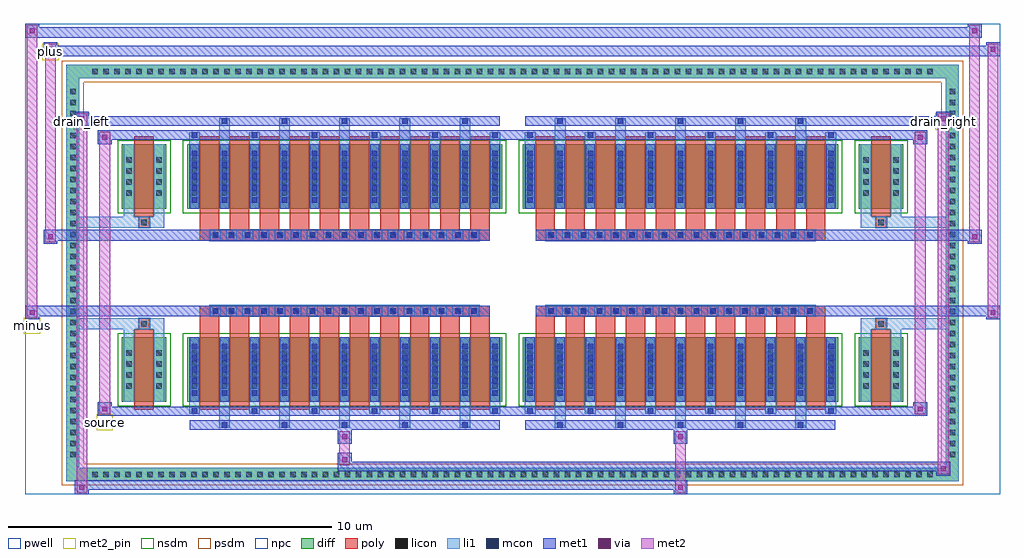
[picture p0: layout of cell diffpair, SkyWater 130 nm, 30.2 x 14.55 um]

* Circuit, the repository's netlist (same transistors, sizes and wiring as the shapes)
* NGSPICE file created from diffpair.ext - technology: sky130A

.subckt diffpair minus drain_right drain_left source plus
X0 drain_left plus source a_n2762_n1288# sky130_fd_pr__nfet_01v8 ad=0.33 pd=2.33 as=0.78 ps=4.78 w=2 l=0.6
X1 drain_right minus source a_n2762_n1288# sky130_fd_pr__nfet_01v8 ad=0.33 pd=2.33 as=0.78 ps=4.78 w=2 l=0.6
X2 drain_left plus source a_n2762_n1288# sky130_fd_pr__nfet_01v8 ad=0.33 pd=2.33 as=0.33 ps=2.33 w=2 l=0.6
X3 source plus drain_left a_n2762_n1288# sky130_fd_pr__nfet_01v8 ad=0.33 pd=2.33 as=0.33 ps=2.33 w=2 l=0.6
X4 drain_left plus source a_n2762_n1288# sky130_fd_pr__nfet_01v8 ad=0.33 pd=2.33 as=0.33 ps=2.33 w=2 l=0.6
X5 source minus drain_right a_n2762_n1288# sky130_fd_pr__nfet_01v8 ad=0.78 pd=4.78 as=0.33 ps=2.33 w=2 l=0.6
X6 source plus drain_left a_n2762_n1288# sky130_fd_pr__nfet_01v8 ad=0.33 pd=2.33 as=0.33 ps=2.33 w=2 l=0.6
X7 drain_right minus source a_n2762_n1288# sky130_fd_pr__nfet_01v8 ad=0.33 pd=2.33 as=0.33 ps=2.33 w=2 l=0.6
X8 source minus drain_right a_n2762_n1288# sky130_fd_pr__nfet_01v8 ad=0.33 pd=2.33 as=0.33 ps=2.33 w=2 l=0.6
X9 drain_left plus source a_n2762_n1288# sky130_fd_pr__nfet_01v8 ad=0.33 pd=2.33 as=0.33 ps=2.33 w=2 l=0.6
X10 source minus drain_right a_n2762_n1288# sky130_fd_pr__nfet_01v8 ad=0.33 pd=2.33 as=0.33 ps=2.33 w=2 l=0.6
X11 source plus drain_left a_n2762_n1288# sky130_fd_pr__nfet_01v8 ad=0.33 pd=2.33 as=0.33 ps=2.33 w=2 l=0.6
X12 source minus drain_right a_n2762_n1288# sky130_fd_pr__nfet_01v8 ad=0.33 pd=2.33 as=0.33 ps=2.33 w=2 l=0.6
X13 drain_right minus source a_n2762_n1288# sky130_fd_pr__nfet_01v8 ad=0.33 pd=2.33 as=0.33 ps=2.33 w=2 l=0.6
X14 drain_right minus source a_n2762_n1288# sky130_fd_pr__nfet_01v8 ad=0.33 pd=2.33 as=0.33 ps=2.33 w=2 l=0.6
X15 drain_right minus source a_n2762_n1288# sky130_fd_pr__nfet_01v8 ad=0.33 pd=2.33 as=0.33 ps=2.33 w=2 l=0.6
X16 drain_right minus source a_n2762_n1288# sky130_fd_pr__nfet_01v8 ad=0.33 pd=2.33 as=0.33 ps=2.33 w=2 l=0.6
X17 source minus drain_right a_n2762_n1288# sky130_fd_pr__nfet_01v8 ad=0.78 pd=4.78 as=0.33 ps=2.33 w=2 l=0.6
X18 source plus drain_left a_n2762_n1288# sky130_fd_pr__nfet_01v8 ad=0.33 pd=2.33 as=0.33 ps=2.33 w=2 l=0.6
X19 a_n2762_n1288# a_n2762_n1288# a_n2762_n1288# a_n2762_n1288# sky130_fd_pr__nfet_01v8 ad=0.78 pd=4.78 as=6.24 ps=38.24 w=2 l=0.6
X20 source minus drain_right a_n2762_n1288# sky130_fd_pr__nfet_01v8 ad=0.33 pd=2.33 as=0.33 ps=2.33 w=2 l=0.6
X21 a_n2762_n1288# a_n2762_n1288# a_n2762_n1288# a_n2762_n1288# sky130_fd_pr__nfet_01v8 ad=0.78 pd=4.78 as=0 ps=0 w=2 l=0.6
X22 a_n2762_n1288# a_n2762_n1288# a_n2762_n1288# a_n2762_n1288# sky130_fd_pr__nfet_01v8 ad=0.78 pd=4.78 as=0 ps=0 w=2 l=0.6
X23 drain_left plus source a_n2762_n1288# sky130_fd_pr__nfet_01v8 ad=0.33 pd=2.33 as=0.33 ps=2.33 w=2 l=0.6
X24 a_n2762_n1288# a_n2762_n1288# a_n2762_n1288# a_n2762_n1288# sky130_fd_pr__nfet_01v8 ad=0.78 pd=4.78 as=0 ps=0 w=2 l=0.6
X25 drain_left plus source a_n2762_n1288# sky130_fd_pr__nfet_01v8 ad=0.33 pd=2.33 as=0.33 ps=2.33 w=2 l=0.6
X26 source plus drain_left a_n2762_n1288# sky130_fd_pr__nfet_01v8 ad=0.33 pd=2.33 as=0.33 ps=2.33 w=2 l=0.6
X27 source plus drain_left a_n2762_n1288# sky130_fd_pr__nfet_01v8 ad=0.33 pd=2.33 as=0.33 ps=2.33 w=2 l=0.6
X28 source minus drain_right a_n2762_n1288# sky130_fd_pr__nfet_01v8 ad=0.33 pd=2.33 as=0.33 ps=2.33 w=2 l=0.6
X29 drain_right minus source a_n2762_n1288# sky130_fd_pr__nfet_01v8 ad=0.33 pd=2.33 as=0.33 ps=2.33 w=2 l=0.6
X30 drain_left plus source a_n2762_n1288# sky130_fd_pr__nfet_01v8 ad=0.33 pd=2.33 as=0.33 ps=2.33 w=2 l=0.6
X31 source minus drain_right a_n2762_n1288# sky130_fd_pr__nfet_01v8 ad=0.33 pd=2.33 as=0.33 ps=2.33 w=2 l=0.6
X32 source plus drain_left a_n2762_n1288# sky130_fd_pr__nfet_01v8 ad=0.33 pd=2.33 as=0.33 ps=2.33 w=2 l=0.6
X33 drain_right minus source a_n2762_n1288# sky130_fd_pr__nfet_01v8 ad=0.33 pd=2.33 as=0.78 ps=4.78 w=2 l=0.6
X34 drain_right minus source a_n2762_n1288# sky130_fd_pr__nfet_01v8 ad=0.33 pd=2.33 as=0.33 ps=2.33 w=2 l=0.6
X35 source minus drain_right a_n2762_n1288# sky130_fd_pr__nfet_01v8 ad=0.33 pd=2.33 as=0.33 ps=2.33 w=2 l=0.6
X36 source plus drain_left a_n2762_n1288# sky130_fd_pr__nfet_01v8 ad=0.78 pd=4.78 as=0.33 ps=2.33 w=2 l=0.6
X37 drain_left plus source a_n2762_n1288# sky130_fd_pr__nfet_01v8 ad=0.33 pd=2.33 as=0.33 ps=2.33 w=2 l=0.6
X38 source plus drain_left a_n2762_n1288# sky130_fd_pr__nfet_01v8 ad=0.78 pd=4.78 as=0.33 ps=2.33 w=2 l=0.6
X39 source minus drain_right a_n2762_n1288# sky130_fd_pr__nfet_01v8 ad=0.33 pd=2.33 as=0.33 ps=2.33 w=2 l=0.6
X40 source plus drain_left a_n2762_n1288# sky130_fd_pr__nfet_01v8 ad=0.33 pd=2.33 as=0.33 ps=2.33 w=2 l=0.6
X41 drain_right minus source a_n2762_n1288# sky130_fd_pr__nfet_01v8 ad=0.33 pd=2.33 as=0.33 ps=2.33 w=2 l=0.6
X42 drain_left plus source a_n2762_n1288# sky130_fd_pr__nfet_01v8 ad=0.33 pd=2.33 as=0.78 ps=4.78 w=2 l=0.6
X43 drain_left plus source a_n2762_n1288# sky130_fd_pr__nfet_01v8 ad=0.33 pd=2.33 as=0.33 ps=2.33 w=2 l=0.6
.ends

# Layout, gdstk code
import gdstk
lib = gdstk.Library(unit=1e-6, precision=5e-09)
def R(c, l, rs):  # rectangles x0, y0, x1, y1
    for r in rs: c.add(gdstk.rectangle(r[:2], r[2:], *l))
def A(c, l, x, y, w, h, nx, ny, dx, dy):  # array of equal rectangles
    R(c, l, [(x+i*dx, y+j*dy, x+i*dx+w, y+j*dy+h) for i in range(nx) for j in range(ny)])
def P(c, l, *ps):  # polygons
    for p in ps: c.add(gdstk.Polygon(p, *l))
pwell = (64, 44)
diff = (65, 20)
poly = (66, 20)
licon = (66, 44)
li1 = (67, 20)
mcon = (67, 44)
met1 = (68, 20)
via = (68, 44)
met2_pin = (69, 16)
met2 = (69, 20)
nsdm = (93, 44)
psdm = (94, 20)
npc = (95, 20)

diffpair = lib.new_cell('diffpair')
R(diffpair, pwell, [(-15.08,-6.84,15.08,7.71), (-12.4,-5.03,-0.01,-0.805), (0.01,-5.03,12.4,-0.805), (-12.4,0.805,-0.01,5.03), (0.01,0.805,12.4,5.03)])
A(diffpair, diff, -13.125, -6.44, 0.41, 0.41, 77, 2, 0.34, 12.47)
A(diffpair, diff, -13.81, -5.815, 0.41, 0.41, 1, 34, 0, 0.34)
A(diffpair, diff, 13.4, -5.815, 0.41, 0.41, 1, 34, 0, 0.34)
R(diffpair, diff, [(-13.125,-6.44,13.125,-6.03), (-13.81,-5.815,-13.4,5.815), (13.4,-5.815,13.81,5.815), (-12.09,-3.985,-10.71,-1.985), (-10.07,-3.985,-0.32,-1.985), (0.32,-3.985,10.07,-1.985), (10.71,-3.985,12.09,-1.985), (-12.09,1.985,-10.71,3.985), (-10.07,1.985,-0.32,3.985), (0.32,1.985,10.07,3.985), (10.71,1.985,12.09,3.985), (-13.125,6.03,13.125,6.44)])
P(diffpair, diff, [(13.81,6.44),(-13.81,6.44),(-13.81,-6.03),(-13.4,-6.03),(-13.4,6.03),(13.4,6.03),(13.4,-6.03),(-13.4,-6.03),(-13.81,-6.03),(-13.81,-6.44),(13.81,-6.44)])
A(diffpair, poly, -9.68, -4.235, 0.6, 2.5, 10, 2, 0.93, 5.97)
A(diffpair, poly, 0.71, -4.235, 0.6, 2.5, 10, 2, 0.93, 5.97)
A(diffpair, poly, -9.68, -1.735, 0.6, 0.4, 10, 2, 0.93, 3.07)
A(diffpair, poly, 0.71, -1.735, 0.6, 0.4, 10, 2, 0.93, 3.07)
A(diffpair, poly, -9.36, -1.335, 0.33, 0.33, 17, 2, 0.5, 2.34)
A(diffpair, poly, 1.03, -1.335, 0.33, 0.33, 17, 2, 0.5, 2.34)
R(diffpair, poly, [(-11.7,-4.235,-11.1,-1.735), (11.1,-4.235,11.7,-1.735), (-11.565,-1.735,-11.235,-1.405), (-11.565,-1.735,-11.235,-1.405), (11.235,-1.735,11.565,-1.405), (11.235,-1.735,11.565,-1.405), (-9.68,-1.335,-0.71,-1.005), (0.71,-1.335,9.68,-1.005), (-9.68,1.005,-0.71,1.335), (0.71,1.005,9.68,1.335), (-11.565,1.405,-11.235,1.735), (-11.565,1.405,-11.235,1.735), (11.235,1.405,11.565,1.735), (11.235,1.405,11.565,1.735), (-11.7,1.735,-11.1,4.235), (11.1,1.735,11.7,4.235)])
A(diffpair, licon, -13.005, -6.32, 0.17, 0.17, 77, 2, 0.34, 12.47)
A(diffpair, licon, -13.69, -5.695, 0.17, 0.17, 1, 34, 0, 0.34)
A(diffpair, licon, 13.52, -5.695, 0.17, 0.17, 1, 34, 0, 0.34)
A(diffpair, licon, -11.95, -3.58, 0.17, 0.17, 1, 4, 0, 0.34)
A(diffpair, licon, -11.02, -3.58, 0.17, 0.17, 1, 4, 0, 0.34)
A(diffpair, licon, -9.93, -3.58, 0.17, 0.17, 11, 4, 0.93, 0.34)
A(diffpair, licon, 0.46, -3.58, 0.17, 0.17, 11, 4, 0.93, 0.34)
A(diffpair, licon, 10.85, -3.58, 0.17, 0.17, 1, 4, 0, 0.34)
A(diffpair, licon, 11.78, -3.58, 0.17, 0.17, 1, 4, 0, 0.34)
A(diffpair, licon, -9.28, -1.255, 0.17, 0.17, 17, 2, 0.5, 2.34)
A(diffpair, licon, 1.11, -1.255, 0.17, 0.17, 17, 2, 0.5, 2.34)
A(diffpair, licon, -11.95, 2.39, 0.17, 0.17, 1, 4, 0, 0.34)
A(diffpair, licon, -11.02, 2.39, 0.17, 0.17, 1, 4, 0, 0.34)
A(diffpair, licon, -9.93, 2.39, 0.17, 0.17, 11, 4, 0.93, 0.34)
A(diffpair, licon, 0.46, 2.39, 0.17, 0.17, 11, 4, 0.93, 0.34)
A(diffpair, licon, 10.85, 2.39, 0.17, 0.17, 1, 4, 0, 0.34)
A(diffpair, licon, 11.78, 2.39, 0.17, 0.17, 1, 4, 0, 0.34)
R(diffpair, licon, [(-11.485,-1.655,-11.315,-1.485), (11.315,-1.655,11.485,-1.485), (-11.485,1.485,-11.315,1.655), (11.315,1.485,11.485,1.655)])
A(diffpair, li1, -13.085, -6.4, 0.33, 0.33, 77, 2, 0.34, 12.47)
A(diffpair, li1, -13.77, -5.775, 0.33, 0.33, 1, 34, 0, 0.34)
A(diffpair, li1, 13.44, -5.775, 0.33, 0.33, 1, 34, 0, 0.34)
A(diffpair, li1, -9.08, -4.79, 0.33, 0.805, 5, 2, 1.86, 8.775)
A(diffpair, li1, -9, -4.79, 0.17, 0.17, 5, 2, 1.86, 9.41)
A(diffpair, li1, 1.31, -4.79, 0.33, 0.805, 5, 2, 1.86, 8.775)
A(diffpair, li1, 1.39, -4.79, 0.17, 0.17, 5, 2, 1.86, 9.41)
A(diffpair, li1, -10.01, -4.36, 0.33, 0.375, 6, 2, 1.86, 8.345)
A(diffpair, li1, -9.93, -4.36, 0.17, 0.17, 6, 2, 1.86, 8.55)
A(diffpair, li1, 0.38, -4.36, 0.33, 0.375, 6, 2, 1.86, 8.345)
A(diffpair, li1, 0.46, -4.36, 0.17, 0.17, 6, 2, 1.86, 8.55)
A(diffpair, li1, -10.01, -3.985, 0.33, 2, 11, 2, 0.93, 5.97)
A(diffpair, li1, 0.38, -3.985, 0.33, 2, 11, 2, 0.93, 5.97)
A(diffpair, li1, -9.93, -3.79, 0.17, 0.17, 11, 5, 0.93, 0.36)
A(diffpair, li1, -9.93, -3.79, 0.17, 1.61, 11, 2, 0.93, 5.97)
A(diffpair, li1, 0.46, -3.79, 0.17, 0.17, 11, 5, 0.93, 0.36)
A(diffpair, li1, 0.46, -3.79, 0.17, 1.61, 11, 2, 0.93, 5.97)
A(diffpair, li1, -12.03, -3.66, 0.33, 0.33, 1, 4, 0, 0.34)
A(diffpair, li1, -11.1, -3.66, 0.33, 0.33, 1, 4, 0, 0.34)
A(diffpair, li1, -10.01, -3.66, 0.33, 0.33, 11, 4, 0.93, 0.34)
A(diffpair, li1, 0.38, -3.66, 0.33, 0.33, 11, 4, 0.93, 0.34)
A(diffpair, li1, 10.77, -3.66, 0.33, 0.33, 1, 4, 0, 0.34)
A(diffpair, li1, 11.7, -3.66, 0.33, 0.33, 1, 4, 0, 0.34)
A(diffpair, li1, -9.36, -1.335, 0.33, 0.33, 17, 2, 0.5, 2.34)
A(diffpair, li1, 1.03, -1.335, 0.33, 0.33, 17, 2, 0.5, 2.34)
A(diffpair, li1, -9.93, 2.18, 0.17, 0.17, 11, 5, 0.93, 0.36)
A(diffpair, li1, 0.46, 2.18, 0.17, 0.17, 11, 5, 0.93, 0.36)
A(diffpair, li1, -12.03, 2.31, 0.33, 0.33, 1, 4, 0, 0.34)
A(diffpair, li1, -11.1, 2.31, 0.33, 0.33, 1, 4, 0, 0.34)
A(diffpair, li1, -10.01, 2.31, 0.33, 0.33, 11, 4, 0.93, 0.34)
A(diffpair, li1, 0.38, 2.31, 0.33, 0.33, 11, 4, 0.93, 0.34)
A(diffpair, li1, 10.77, 2.31, 0.33, 0.33, 1, 4, 0, 0.34)
A(diffpair, li1, 11.7, 2.31, 0.33, 0.33, 1, 4, 0, 0.34)
R(diffpair, li1, [(-13.81,-6.44,-13.4,-6.03), (-13.81,-6.44,-13.4,-6.03), (-13.4,-6.44,13.4,-6.03), (13.4,-6.44,13.81,-6.03), (13.4,-6.44,13.81,-6.03), (-13.81,-6.03,-13.4,6.03), (13.4,-6.03,13.81,6.03), (-12.03,-3.985,-11.7,-1.985), (-11.1,-3.985,-10.77,-1.985), (10.77,-3.985,11.1,-1.985), (11.7,-3.985,12.03,-1.985), (-12.03,-1.985,-11.7,-1.405), (-11.1,-1.985,-10.77,-1.405), (10.77,-1.985,11.1,-1.405), (11.7,-1.985,12.03,-1.405), (-13.81,-1.735,-11.565,-1.405), (-12.03,-1.735,-11.565,-1.405), (-11.565,-1.735,-11.235,-1.405), (-11.235,-1.735,-10.77,-1.405), (10.77,-1.735,11.235,-1.405), (11.235,-1.735,11.565,-1.405), (11.235,-1.735,13.81,-1.405), (11.565,-1.735,12.03,-1.405), (-13.81,1.405,-11.565,1.735), (-12.03,1.405,-11.565,1.735), (-12.03,1.405,-11.7,1.985), (-11.565,1.405,-11.235,1.735), (-11.235,1.405,-10.77,1.735), (-11.1,1.405,-10.77,1.985), (10.77,1.405,11.235,1.735), (10.77,1.405,11.1,1.985), (11.235,1.405,11.565,1.735), (11.235,1.405,13.81,1.735), (11.565,1.405,12.03,1.735), (11.7,1.405,12.03,1.985), (-12.03,1.985,-11.7,3.985), (-11.1,1.985,-10.77,3.985), (10.77,1.985,11.1,3.985), (11.7,1.985,12.03,3.985), (-13.81,6.03,-13.4,6.44), (-13.81,6.03,-13.4,6.44), (-13.4,6.03,13.4,6.44), (13.4,6.03,13.81,6.44), (13.4,6.03,13.81,6.44)])
A(diffpair, mcon, -9, -4.79, 0.17, 0.17, 5, 2, 1.86, 9.41)
A(diffpair, mcon, 1.39, -4.79, 0.17, 0.17, 5, 2, 1.86, 9.41)
A(diffpair, mcon, -9.93, -4.36, 0.17, 0.17, 6, 2, 1.86, 8.55)
A(diffpair, mcon, 0.46, -4.36, 0.17, 0.17, 6, 2, 1.86, 8.55)
A(diffpair, mcon, -9.93, -3.79, 0.17, 0.17, 11, 5, 0.93, 0.36)
A(diffpair, mcon, 0.46, -3.79, 0.17, 0.17, 11, 5, 0.93, 0.36)
A(diffpair, mcon, -9.28, -1.255, 0.17, 0.17, 17, 2, 0.5, 2.34)
A(diffpair, mcon, 1.11, -1.255, 0.17, 0.17, 17, 2, 0.5, 2.34)
A(diffpair, mcon, -9.93, 2.18, 0.17, 0.17, 11, 5, 0.93, 0.36)
A(diffpair, mcon, 0.46, 2.18, 0.17, 0.17, 11, 5, 0.93, 0.36)
A(diffpair, met1, -9.06, -4.85, 0.29, 0.29, 5, 2, 1.86, 9.41)
A(diffpair, met1, 1.33, -4.85, 0.29, 0.29, 5, 2, 1.86, 9.41)
A(diffpair, met1, -9.99, -4.42, 0.29, 0.29, 6, 2, 1.86, 8.55)
A(diffpair, met1, 0.4, -4.42, 0.29, 0.29, 6, 2, 1.86, 8.55)
A(diffpair, met1, -9.99, -3.985, 0.29, 2, 11, 2, 0.93, 5.97)
A(diffpair, met1, 0.4, -3.985, 0.29, 2, 11, 2, 0.93, 5.97)
A(diffpair, met1, -9.99, -3.85, 0.29, 0.29, 11, 5, 0.93, 0.36)
A(diffpair, met1, 0.4, -3.85, 0.29, 0.29, 11, 5, 0.93, 0.36)
A(diffpair, met1, -9.34, -1.315, 0.29, 0.29, 17, 2, 0.5, 2.34)
A(diffpair, met1, 1.05, -1.315, 0.29, 0.29, 17, 2, 0.5, 2.34)
A(diffpair, met1, -9.99, 2.12, 0.29, 0.29, 11, 5, 0.93, 0.36)
A(diffpair, met1, 0.4, 2.12, 0.29, 0.29, 11, 5, 0.93, 0.36)
R(diffpair, met1, [(-13.54,-6.84,-13.11,-6.41), (4.98,-6.84,5.41,-6.41), (-13.54,-6.7,5.41,-6.41), (13.11,-6.27,13.54,-5.84), (-5.41,-6.13,13.54,-5.84), (-5.41,-5.99,-4.98,-5.56), (-5.41,-5.28,-4.98,-4.85), (4.98,-5.28,5.41,-4.85), (-9.99,-4.85,-0.4,-4.56), (0.4,-4.85,9.99,-4.56), (-12.83,-4.42,-12.4,-3.99), (-12.83,-4.42,-9.99,-4.13), (-9.99,-4.42,-0.4,-4.13), (-0.4,-4.42,0.4,-4.13), (0.4,-4.42,9.99,-4.13), (9.99,-4.42,12.83,-4.13), (12.4,-4.42,12.83,-3.99), (-15.08,-1.435,-14.65,-1.005), (14.65,-1.435,15.08,-1.005), (-15.08,-1.335,-0.71,-1.005), (-9.68,-1.335,-0.71,-1.005), (0.71,-1.335,9.68,-1.005), (0.71,-1.335,15.08,-1.005), (-14.51,0.905,-14.08,1.335), (14.08,0.905,14.51,1.335), (-14.51,1.005,-9.68,1.335), (-9.68,1.005,-0.71,1.335), (0.71,1.005,9.68,1.335), (9.68,1.005,14.51,1.335), (-12.83,3.99,-12.4,4.42), (12.4,3.99,12.83,4.42), (-12.83,4.13,-9.99,4.42), (-9.99,4.13,-0.4,4.42), (-0.4,4.13,0.4,4.42), (0.4,4.13,9.99,4.42), (9.99,4.13,12.83,4.42), (-13.54,4.56,-13.11,4.99), (-13.54,4.56,-9.99,4.85), (-9.99,4.56,-0.4,4.85), (0.4,4.56,9.99,4.85), (9.99,4.56,13.54,4.85), (13.11,4.56,13.54,4.99), (-14.51,6.71,-14.08,7.14), (-14.51,6.71,-12.4,7.04), (-12.4,6.71,12.4,7.04), (12.4,6.71,15.08,7.04), (14.65,6.71,15.08,7.14), (-15.08,7.28,-14.65,7.71), (-15.08,7.28,-12.4,7.61), (-12.4,7.28,12.4,7.61), (12.4,7.28,14.51,7.61), (14.08,7.28,14.51,7.71)])
R(diffpair, via, [(-13.4,-6.7,-13.25,-6.55), (5.12,-6.7,5.27,-6.55), (13.25,-6.13,13.4,-5.98), (-5.27,-5.85,-5.12,-5.7), (-5.27,-5.14,-5.12,-4.99), (5.12,-5.14,5.27,-4.99), (-12.69,-4.28,-12.54,-4.13), (12.54,-4.28,12.69,-4.13), (-14.94,-1.295,-14.79,-1.145), (14.79,-1.295,14.94,-1.145), (-14.37,1.045,-14.22,1.195), (14.22,1.045,14.37,1.195), (-12.69,4.13,-12.54,4.28), (12.54,4.13,12.69,4.28), (-13.4,4.7,-13.25,4.85), (13.25,4.7,13.4,4.85), (-14.37,6.85,-14.22,7), (14.79,6.85,14.94,7), (-14.94,7.42,-14.79,7.57), (14.22,7.42,14.37,7.57)])
R(diffpair, met2_pin, [(-12.865,-4.87,-12.365,-4.37), (-15.115,-1.885,-14.615,-1.385), (-13.575,4.44,-13.075,4.94), (13.075,4.44,13.575,4.94), (-14.545,6.59,-14.045,7.09)])
R(diffpair, met2, [(-13.49,-6.79,-13.16,-6.46), (-13.49,-6.79,-13.16,4.94), (5.03,-6.79,5.36,-6.46), (5.03,-6.46,5.36,-5.23), (13.16,-6.22,13.49,-5.89), (13.16,-6.22,13.49,4.94), (-5.36,-5.94,-5.03,-5.61), (-5.36,-5.61,-5.03,-5.23), (-5.36,-5.23,-5.03,-4.9), (5.03,-5.23,5.36,-4.9), (-12.78,-4.37,-12.45,-4.04), (-12.78,-4.37,-12.45,4.37), (12.45,-4.37,12.78,-4.04), (12.45,-4.37,12.78,4.37), (-15.03,-1.385,-14.7,-1.055), (-15.03,-1.385,-14.7,7.66), (14.7,-1.385,15.03,-1.055), (14.7,-1.385,15.03,7.09), (-14.46,0.955,-14.13,1.285), (-14.46,0.955,-14.13,7.09), (14.13,0.955,14.46,1.285), (14.13,0.955,14.46,7.66), (-12.78,4.04,-12.45,4.37), (12.45,4.04,12.78,4.37), (-13.49,4.61,-13.16,4.94), (13.16,4.61,13.49,4.94), (-14.46,6.76,-14.13,7.09), (14.7,6.76,15.03,7.09), (-15.03,7.33,-14.7,7.66), (14.13,7.33,14.46,7.66)])
P(diffpair, met2, [(15.03,-1.385),(15.03,-1.385),(15.03,-1.055),(15.03,-1.055)],
  [(15.03,6.76),(15.03,6.76),(15.03,7.09),(15.03,7.09)],
  [(-14.7,-1.385),(-14.7,-1.385),(-14.7,-1.055),(-14.7,-1.055)],
  [(-14.7,7.33),(-14.7,7.33),(-14.7,7.66),(-14.7,7.66)],
  [(14.46,0.955),(14.46,0.955),(14.46,1.285),(14.46,1.285)],
  [(14.46,7.33),(14.46,7.33),(14.46,7.66),(14.46,7.66)],
  [(-14.13,0.955),(-14.13,0.955),(-14.13,1.285),(-14.13,1.285)],
  [(-14.13,6.76),(-14.13,6.76),(-14.13,7.09),(-14.13,7.09)],
  [(-13.16,-6.79),(-13.16,-6.79),(-13.16,-6.46),(-13.16,-6.46)],
  [(-13.16,4.61),(-13.16,4.61),(-13.16,4.94),(-13.16,4.94)],
  [(13.49,-6.22),(13.49,-6.22),(13.49,-5.89),(13.49,-5.89)],
  [(13.49,4.61),(13.49,4.61),(13.49,4.94),(13.49,4.94)],
  [(-12.45,-4.37),(-12.45,-4.37),(-12.45,-4.04),(-12.45,-4.04)],
  [(-12.45,4.04),(-12.45,4.04),(-12.45,4.37),(-12.45,4.37)],
  [(12.78,-4.37),(12.78,-4.37),(12.78,-4.04),(12.78,-4.04)],
  [(12.78,4.04),(12.78,4.04),(12.78,4.37),(12.78,4.37)])
R(diffpair, nsdm, [(-12.22,-4.115,-10.58,-1.855), (-10.2,-4.115,-0.19,-1.855), (0.19,-4.115,10.2,-1.855), (10.58,-4.115,12.22,-1.855), (-12.22,1.855,-10.58,4.115), (-10.2,1.855,-0.19,4.115), (0.19,1.855,10.2,4.115), (10.58,1.855,12.22,4.115)])
P(diffpair, psdm, [(13.94,6.57),(-13.94,6.57),(-13.94,-5.9),(-13.27,-5.9),(-13.27,5.9),(13.27,5.9),(13.27,-5.9),(-13.27,-5.9),(-13.94,-5.9),(-13.94,-6.57),(13.94,-6.57)])
A(diffpair, npc, -9.38, -1.355, 0.37, 0.37, 17, 2, 0.5, 2.34)
A(diffpair, npc, 1.01, -1.355, 0.37, 0.37, 17, 2, 0.5, 2.34)
R(diffpair, npc, [(-11.585,-1.755,-11.215,-1.385), (11.215,-1.755,11.585,-1.385), (-9.38,-1.355,-8.51,-0.985), (-9.38,-1.355,-8.51,-0.985), (-8.88,-1.355,-8.01,-0.985), (-8.88,-1.355,-8.01,-0.985), (-8.38,-1.355,-7.51,-0.985), (-8.38,-1.355,-7.51,-0.985), (-7.88,-1.355,-7.01,-0.985), (-7.88,-1.355,-7.01,-0.985), (-7.38,-1.355,-6.51,-0.985), (-7.38,-1.355,-6.51,-0.985), (-6.88,-1.355,-6.01,-0.985), (-6.88,-1.355,-6.01,-0.985), (-6.38,-1.355,-5.51,-0.985), (-6.38,-1.355,-5.51,-0.985), (-5.88,-1.355,-5.01,-0.985), (-5.88,-1.355,-5.01,-0.985), (-5.38,-1.355,-4.51,-0.985), (-5.38,-1.355,-4.51,-0.985), (-4.88,-1.355,-4.01,-0.985), (-4.88,-1.355,-4.01,-0.985), (-4.38,-1.355,-3.51,-0.985), (-4.38,-1.355,-3.51,-0.985), (-3.88,-1.355,-3.01,-0.985), (-3.88,-1.355,-3.01,-0.985), (-3.38,-1.355,-2.51,-0.985), (-3.38,-1.355,-2.51,-0.985), (-2.88,-1.355,-2.01,-0.985), (-2.88,-1.355,-2.01,-0.985), (-2.38,-1.355,-1.51,-0.985), (-2.38,-1.355,-1.51,-0.985), (-1.88,-1.355,-1.01,-0.985), (-1.88,-1.355,-1.01,-0.985), (1.01,-1.355,1.88,-0.985), (1.01,-1.355,1.88,-0.985), (1.51,-1.355,2.38,-0.985), (1.51,-1.355,2.38,-0.985), (2.01,-1.355,2.88,-0.985), (2.01,-1.355,2.88,-0.985), (2.51,-1.355,3.38,-0.985), (2.51,-1.355,3.38,-0.985), (3.01,-1.355,3.88,-0.985), (3.01,-1.355,3.88,-0.985), (3.51,-1.355,4.38,-0.985), (3.51,-1.355,4.38,-0.985), (4.01,-1.355,4.88,-0.985), (4.01,-1.355,4.88,-0.985), (4.51,-1.355,5.38,-0.985), (4.51,-1.355,5.38,-0.985), (5.01,-1.355,5.88,-0.985), (5.01,-1.355,5.88,-0.985), (5.51,-1.355,6.38,-0.985), (5.51,-1.355,6.38,-0.985), (6.01,-1.355,6.88,-0.985), (6.01,-1.355,6.88,-0.985), (6.51,-1.355,7.38,-0.985), (6.51,-1.355,7.38,-0.985), (7.01,-1.355,7.88,-0.985), (7.01,-1.355,7.88,-0.985), (7.51,-1.355,8.38,-0.985), (7.51,-1.355,8.38,-0.985), (8.01,-1.355,8.88,-0.985), (8.01,-1.355,8.88,-0.985), (8.51,-1.355,9.38,-0.985), (8.51,-1.355,9.38,-0.985), (-9.38,0.985,-8.51,1.355), (-9.38,0.985,-8.51,1.355), (-8.88,0.985,-8.01,1.355), (-8.88,0.985,-8.01,1.355), (-8.38,0.985,-7.51,1.355), (-8.38,0.985,-7.51,1.355), (-7.88,0.985,-7.01,1.355), (-7.88,0.985,-7.01,1.355), (-7.38,0.985,-6.51,1.355), (-7.38,0.985,-6.51,1.355), (-6.88,0.985,-6.01,1.355), (-6.88,0.985,-6.01,1.355), (-6.38,0.985,-5.51,1.355), (-6.38,0.985,-5.51,1.355), (-5.88,0.985,-5.01,1.355), (-5.88,0.985,-5.01,1.355), (-5.38,0.985,-4.51,1.355), (-5.38,0.985,-4.51,1.355), (-4.88,0.985,-4.01,1.355), (-4.88,0.985,-4.01,1.355), (-4.38,0.985,-3.51,1.355), (-4.38,0.985,-3.51,1.355), (-3.88,0.985,-3.01,1.355), (-3.88,0.985,-3.01,1.355), (-3.38,0.985,-2.51,1.355), (-3.38,0.985,-2.51,1.355), (-2.88,0.985,-2.01,1.355), (-2.88,0.985,-2.01,1.355), (-2.38,0.985,-1.51,1.355), (-2.38,0.985,-1.51,1.355), (-1.88,0.985,-1.01,1.355), (-1.88,0.985,-1.01,1.355), (1.01,0.985,1.88,1.355), (1.01,0.985,1.88,1.355), (1.51,0.985,2.38,1.355), (1.51,0.985,2.38,1.355), (2.01,0.985,2.88,1.355), (2.01,0.985,2.88,1.355), (2.51,0.985,3.38,1.355), (2.51,0.985,3.38,1.355), (3.01,0.985,3.88,1.355), (3.01,0.985,3.88,1.355), (3.51,0.985,4.38,1.355), (3.51,0.985,4.38,1.355), (4.01,0.985,4.88,1.355), (4.01,0.985,4.88,1.355), (4.51,0.985,5.38,1.355), (4.51,0.985,5.38,1.355), (5.01,0.985,5.88,1.355), (5.01,0.985,5.88,1.355), (5.51,0.985,6.38,1.355), (5.51,0.985,6.38,1.355), (6.01,0.985,6.88,1.355), (6.01,0.985,6.88,1.355), (6.51,0.985,7.38,1.355), (6.51,0.985,7.38,1.355), (7.01,0.985,7.88,1.355), (7.01,0.985,7.88,1.355), (7.51,0.985,8.38,1.355), (7.51,0.985,8.38,1.355), (8.01,0.985,8.88,1.355), (8.01,0.985,8.88,1.355), (8.51,0.985,9.38,1.355), (8.51,0.985,9.38,1.355), (-11.585,1.385,-11.215,1.755), (11.215,1.385,11.585,1.755)])
diffpair.add(gdstk.Label('minus', (-14.865,-1.635), layer=69, texttype=5))
diffpair.add(gdstk.Label('drain_right', (13.325,4.69), layer=69, texttype=5))
diffpair.add(gdstk.Label('drain_left', (-13.325,4.69), layer=69, texttype=5))
diffpair.add(gdstk.Label('source', (-12.615,-4.62), layer=69, texttype=5))
diffpair.add(gdstk.Label('plus', (-14.295,6.84), layer=69, texttype=5))

lib.write_gds('diffpair.gds')
